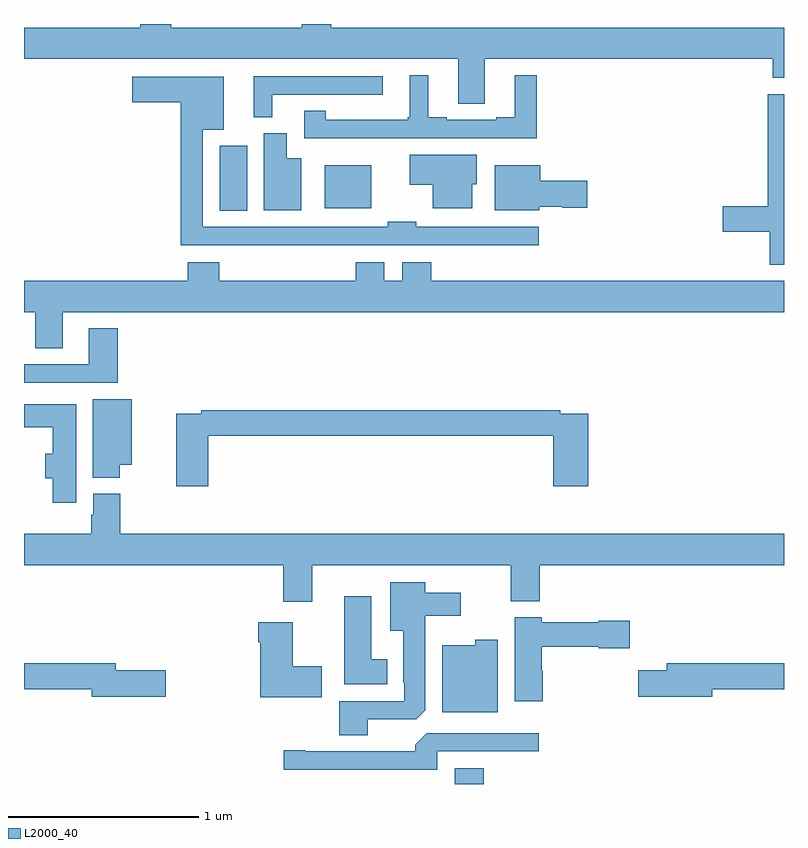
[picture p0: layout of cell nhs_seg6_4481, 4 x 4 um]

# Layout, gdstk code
import gdstk
lib = gdstk.Library(unit=1e-6, precision=1e-09)
def R(c, l, rs):  # rectangles x0, y0, x1, y1
    for r in rs: c.add(gdstk.rectangle(r[:2], r[2:], *l))
def P(c, l, *ps):  # polygons
    for p in ps: c.add(gdstk.Polygon(p, *l))
L2000_40 = (2000, 40)

nhs_seg6_4481 = lib.new_cell('nhs_seg6_4481')
R(nhs_seg6_4481, L2000_40, [(377.267,963.5,377.42,963.583), (376.031,966.517,376.174,966.859), (376.583,966.53,376.828,966.757)])
P(nhs_seg6_4481, L2000_40, [(377.425,967.316),(378.941,967.316),(378.941,967.217),(379,967.217),(379,967.48),(376.616,967.48),(376.616,967.5),(376.463,967.5),(376.463,967.48),(375.776,967.48),(375.776,967.5),(375.611,967.5),(375.611,967.48),(375,967.48),(375,967.316),(377.285,967.316),(377.285,967.081),(377.425,967.081)],
  [(376.924,966.9),(377.699,966.9),(377.699,967.231),(377.582,967.231),(377.582,967.009),(377.486,967.009),(377.486,966.996),(377.224,966.996),(377.224,967.009),(377.128,967.009),(377.128,967.231),(377.03,967.231),(377.03,967.009),(377.019,967.009),(377.019,966.997),(376.589,966.997),(376.589,967.043),(376.476,967.043),(376.476,966.899),(376.924,966.899)],
  [(376.306,967.128),(376.888,967.128),(376.888,967.224),(376.208,967.224),(376.208,967.009),(376.306,967.009)],
  [(376.661,966.336),(377.164,966.336),(377.164,966.335),(377.71,966.335),(377.71,966.432),(377.064,966.432),(377.064,966.46),(376.914,966.46),(376.914,966.432),(375.942,966.432),(375.942,966.944),(376.051,966.944),(376.051,967.222),(375.57,967.222),(375.57,967.088),(375.826,967.088),(375.826,966.336),(376.111,966.336),(376.111,966.335),(376.661,966.335)],
  [(379,967.13),(378.914,967.13),(378.914,966.542),(378.678,966.542),(378.678,966.407),(378.926,966.407),(378.926,966.234),(379,966.234)],
  [(376.459,966.793),(376.384,966.793),(376.384,966.924),(376.262,966.924),(376.262,966.521),(376.459,966.521)],
  [(377.359,966.657),(377.383,966.657),(377.383,966.811),(377.031,966.811),(377.031,966.653),(377.15,966.653),(377.15,966.53),(377.359,966.53)],
  [(377.712,966.539),(377.832,966.539),(377.832,966.532),(377.965,966.532),(377.965,966.674),(377.716,966.674),(377.716,966.757),(377.477,966.757),(377.477,966.521),(377.712,966.521)],
  [(375.205,965.984),(379,965.984),(379,966.148),(377.144,966.148),(377.144,966.247),(376.991,966.247),(376.991,966.148),(376.897,966.148),(376.897,966.247),(376.745,966.247),(376.745,966.148),(376.028,966.148),(376.028,966.247),(375.863,966.247),(375.863,966.148),(375,966.148),(375,965.984),(375.058,965.984),(375.058,965.794),(375.205,965.794)],
  [(375.494,965.899),(375.341,965.899),(375.341,965.709),(375,965.709),(375,965.613),(375.494,965.613)],
  [(375.504,965.18),(375.568,965.18),(375.568,965.524),(375.362,965.524),(375.362,965.113),(375.504,965.113)],
  [(375.274,965.5),(375,965.5),(375,965.378),(375.152,965.378),(375.152,965.239),(375.113,965.239),(375.113,965.11),(375.152,965.11),(375.152,964.98),(375.274,964.98)],
  [(375.971,965.332),(377.786,965.332),(377.786,965.067),(377.969,965.067),(377.969,965.448),(377.822,965.448),(377.822,965.468),(375.934,965.468),(375.934,965.448),(375.8,965.448),(375.8,965.067),(375.971,965.067)],
  [(376.516,964.652),(377.561,964.652),(377.561,964.463),(377.714,964.463),(377.714,964.652),(379,964.652),(379,964.816),(375.506,964.816),(375.506,965.028),(375.365,965.028),(375.365,964.917),(375.353,964.917),(375.353,964.816),(375,964.816),(375,964.652),(376.364,964.652),(376.364,964.458),(376.516,964.458)],
  [(376.81,963.84),(377.064,963.84),(377.113,963.889),(377.113,964.385),(377.299,964.385),(377.299,964.507),(377.113,964.507),(377.113,964.561),(376.928,964.561),(376.928,964.307),(376.997,964.307),(376.997,964.033),(377.001,964.033),(377.001,963.936),(376.658,963.936),(376.658,963.757),(376.81,963.757)],
  [(376.912,964.156),(376.828,964.156),(376.828,964.489),(376.685,964.489),(376.685,964.025),(376.912,964.025)],
  [(377.729,964.097),(377.724,964.097),(377.724,964.222),(378.024,964.222),(378.024,964.214),(378.187,964.214),(378.187,964.359),(378.024,964.359),(378.024,964.351),(377.724,964.351),(377.724,964.378),(377.582,964.378),(377.582,963.936),(377.729,963.936)],
  [(376.567,964.119),(376.414,964.119),(376.414,964.351),(376.232,964.351),(376.232,964.247),(376.244,964.247),(376.244,963.956),(376.567,963.956)],
  [(377.494,964.258),(377.376,964.258),(377.376,964.231),(377.201,964.231),(377.201,963.878),(377.494,963.878)],
  [(375.745,964.1),(375.484,964.1),(375.484,964.136),(375,964.136),(375,964),(375.356,964),(375.356,963.958),(375.745,963.958)],
  [(378.622,964),(379,964),(379,964.136),(378.383,964.136),(378.383,964.1),(378.234,964.1),(378.234,963.958),(378.622,963.958)],
  [(377.175,963.672),(377.71,963.672),(377.71,963.768),(377.121,963.768),(377.06,963.706),(377.06,963.672),(376.48,963.672),(376.48,963.677),(376.368,963.677),(376.368,963.576),(377.175,963.576)])

lib.write_gds('nhs_seg6_4481.gds')
